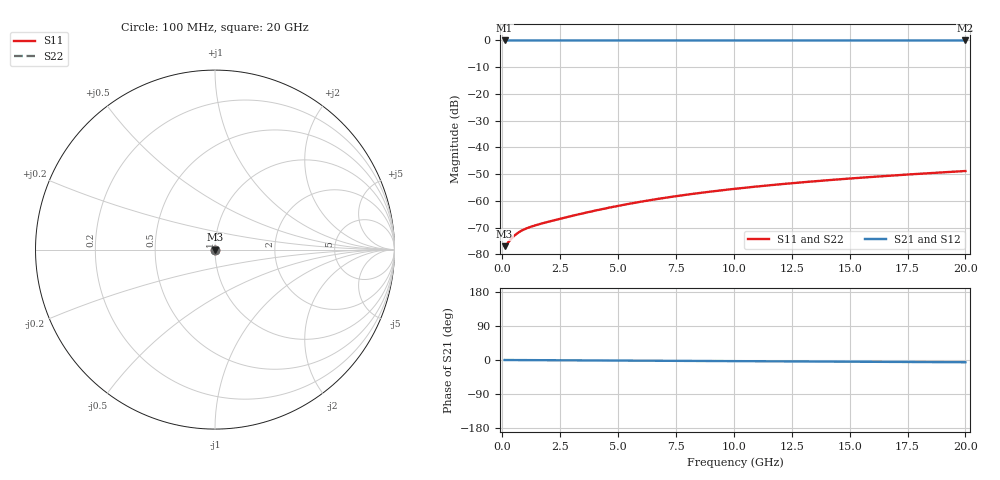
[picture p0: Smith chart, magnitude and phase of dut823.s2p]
! Touchstone file exported from HFSS 2026.1.0
!  File:  C:/ffzhzh/LocalFiles/Ansys_Project_Files/temp_train_TSV_823_1783184534_43440.aedt
!  Generated:  01:03:49 AM Jul  5, 2026
!  Design:  TSV
!  Project:  temp_train_TSV_823_1783184534_43440
! Variables:
!  h_bsmrdl = 2um
!  h_ox = 20um
!  h_rdl = 5um
!  h_sub = 59.42um
!  h_tmrdl = 5um
!  h_tsv = 59.42um
!  h_via = 3um
!  l_bsmrdl = 300um
!  l_sub = 416.44um
!  l_tmrdl = 200um
!  m_sub = 200um
!  pitch = 32.01um
!  r_tsv = 8.22um
!  s_tmrdl = 10um
!  w_bsmrdl = 18um
!  w_sub = 500um
!  w_tmrdl = 12um
!  x_tsv_center1 = 206um
!  x_tsv_center2 = 524um
!  x_tsv_center3 = 736um
!  x_tsv_center4 = 1054um
!  x_tsv_center5 = 1266um
!  x_tsv_center6 = 1584um
# GHz S MA R 50.000000
! Terminal data exported
! Port[1] = TSV1_1_T1
! Port[2] = TSV1_1_T2
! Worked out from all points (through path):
!   200 points, 100 MHz to 20 GHz, reference 50 ohm
!   highest |S21| = 0.00 dB at 100 MHz (marker M1); lowest = 0.0 dB at 20 GHz (marker M2)
!   lowest |S11| = -76.9 dB at 100 MHz (marker M3), VSWR 1.00, Z = 50 + j0.00216 ohm
!   |S11| at or under -10 dB: start of sweep to end of sweep
!   |S22| runs from -76.9 to -48.8 dB; largest |S21 - S12| = 2.2e-15
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0.1  0.0001421 8.8  0.9999 -0.0  0.9999 -0.0  0.0001421 8.8
! Gamma 0 0 0 0
! Port Impedance 50 0 50 0
0.2  0.0001569 15.0  0.9998 -0.1  0.9998 -0.1  0.0001569 15.0
0.4  0.0001983 18.6  0.9998 -0.1  0.9998 -0.1  0.0001983 18.6
0.5  0.0002193 17.7  0.9998 -0.2  0.9998 -0.2  0.0002193 17.7
0.6  0.0002388 15.8  0.9998 -0.2  0.9998 -0.2  0.0002388 15.8
0.8  0.0002724 11.0  0.9997 -0.2  0.9997 -0.2  0.0002724 11.0
1  0.0003001 5.9  0.9997 -0.3  0.9997 -0.3  0.0003001 5.9
1.3  0.000335 -1.3  0.9997 -0.4  0.9997 -0.4  0.000335 -1.3
1.8  0.0003871 -11.2  0.9996 -0.5  0.9996 -0.5  0.0003871 -11.2
2.6  0.000474 -23.0  0.9996 -0.8  0.9996 -0.8  0.000474 -23.0
3.5  0.0005865 -32.4  0.9995 -1.1  0.9995 -1.1  0.0005865 -32.4
4.3  0.0006991 -38.8  0.9994 -1.3  0.9994 -1.3  0.0006991 -38.8
5.1  0.0008211 -43.9  0.9994 -1.5  0.9994 -1.5  0.0008211 -43.9
5.9  0.0009503 -48.2  0.9993 -1.8  0.9993 -1.8  0.0009503 -48.2
6.8  0.001102 -52.1  0.9993 -2.0  0.9993 -2.0  0.001102 -52.1
8.4  0.001382 -57.8  0.9992 -2.5  0.9992 -2.5  0.001382 -57.8
10.1  0.001691 -62.4  0.9991 -3.0  0.9991 -3.0  0.001691 -62.4
11.7  0.001987 -65.8  0.9991 -3.5  0.9991 -3.5  0.001987 -65.8
13.4  0.002308 -68.8  0.999 -4.0  0.999 -4.0  0.002308 -68.8
15  0.002615 -71.0  0.999 -4.5  0.999 -4.5  0.002615 -71.0
16.7  0.002947 -73.1  0.9989 -5.0  0.9989 -5.0  0.002947 -73.1
20  0.003614 -76.2  0.9988 -5.9  0.9988 -5.9  0.003614 -76.2
